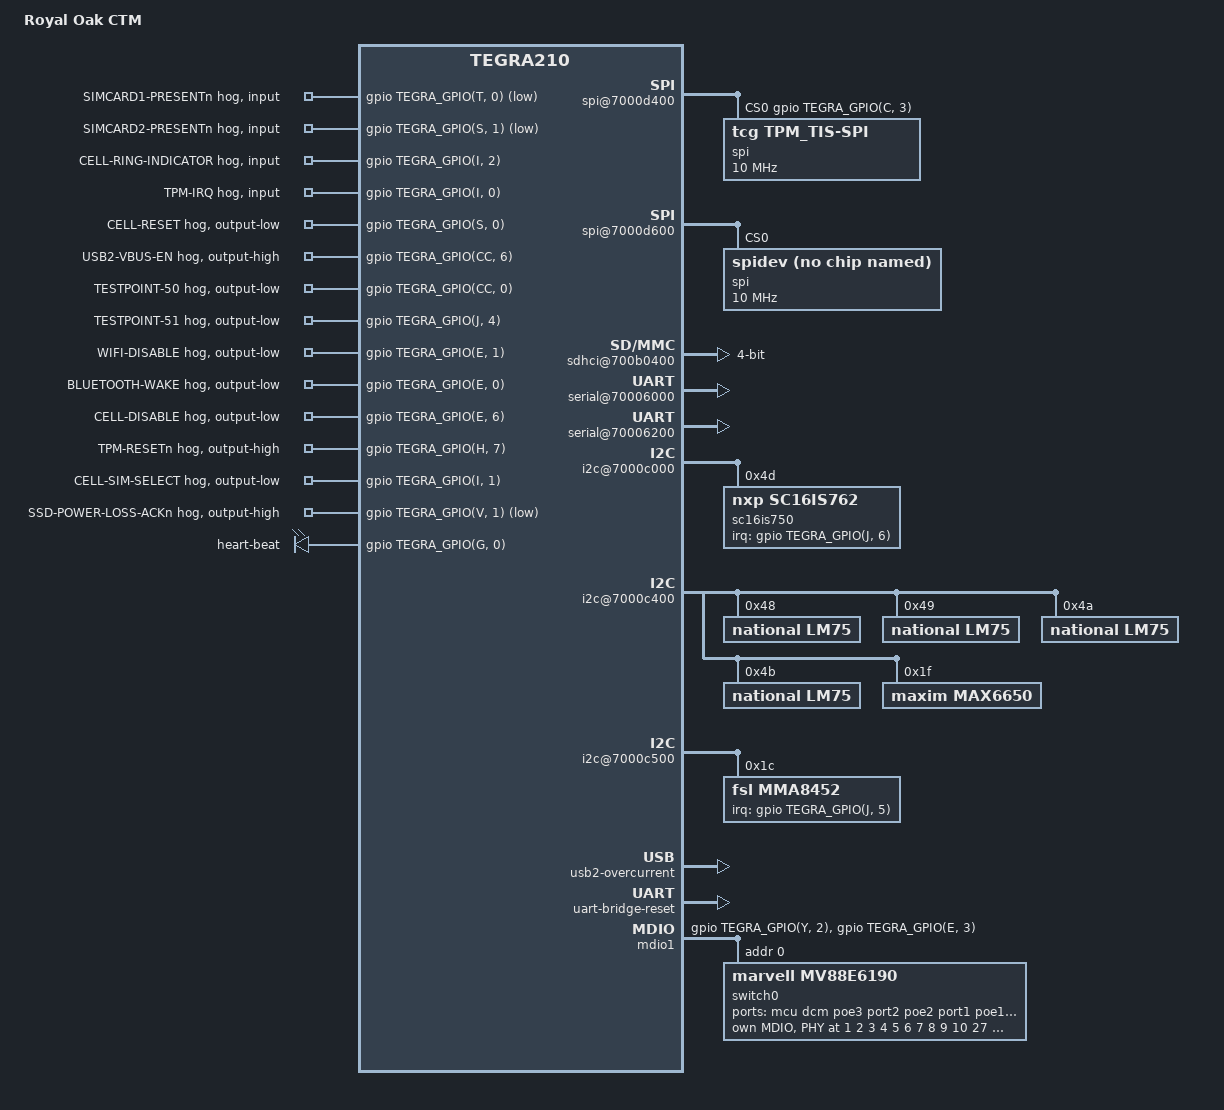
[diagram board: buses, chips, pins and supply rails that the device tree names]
/*
 * arch/arm64/boot/dts/tegra210-p3448-0000-p3449-0000-a00.dts
 *
 * Copyright (c) 2018-2019, NVIDIA CORPORATION.  All rights reserved.
 *
 * This program is free software; you can redistribute it and/or modify
 * it under the terms of the GNU General Public License as published by
 * the Free Software Foundation; version 2 of the License.
 *
 * This program is distributed in the hope that it will be useful, but WITHOUT
 * ANY WARRANTY; without even the implied warranty of MERCHANTABILITY or
 * FITNESS FOR A PARTICULAR PURPOSE.  See the GNU General Public License for
 * more details.
 *
 * You should have received a copy of the GNU General Public License along
 * with this program; if not, write to the Free Software Foundation, Inc.,
 * 51 Franklin Street, Fifth Floor, Boston, MA  02110-1301, USA.
 *
 */

#include "tegra210-porg-p3448-common.dtsi"

#include "porg-platforms/tegra210-royal_oak_ctm-pinmux.dtsi"
#include "porg-platforms/tegra210-royal_oak_ctm-gpio-default.dtsi"

/ {
    model = "Royal Oak CTM";
    compatible = "nvidia,jetson-nano", "nvidia,tegra210";
    nvidia,dtsfilename = __FILE__;

    //*********************************************************************
    // host1x Setup
    //*********************************************************************

    host1x {
        // Disable the display controllers
        dc@54200000 {
            status = "disabled";
        };
        dc@54240000 {
            status = "disabled";
        };

        // Disable the display serial output resources
        sor {
            status = "disabled";
            dp-display {
                status = "disabled";
            };
        };
        sor1 {
            status = "disabled";
            hdmi-display {
                status = "disabled";
            };
        };

        // Disable the DisplayPort AUX interfaces
        dpaux {
            status = "disabled";
        };
        dpaux1 {
            status = "disabled";
        };
    };

    //*********************************************************************
    // SPI Setup
    //
    // Notes:
    //		Nano supports up to 65Mhz SPI clocks.
    //*********************************************************************

    // Nano Module SPI 0 --> Tegra SPI 1 (TPM)
    spi@7000d400 {
        status = "okay";
        // Not actually 100% sure this does anything, it was suggested on the NVidia forums. The kernel doesn't
        // look for this, but possibly one of the boot loaders does. This is suppose to disable power management
        // on the interface.
        nvidia,disable-runtime-pm;

        // The PINMUX needed to be adjusted to put the CS line as a GPIO pin which is software controlled,
        // the hardware control was dropping the CS line between transactions resetting the TPM.
        cs-gpios = <&gpio TEGRA_GPIO(C, 3) GPIO_ACTIVE_HIGH>;

        spi@0 {
            reg = <0x0>;
            compatible = "tcg,tpm_tis-spi";
            spi-max-frequency = <10000000>;
            controller-data {
                // This setting along with the cs-gpios keeps the CS active during the full transaction.
                nvidia,clk-delay-between-packets = <0x1>;
            };
        };
    };

    // Nano Module SPI 1 --> Tegra SPI 2 (DPDI to DCM, Future expansion)
    spi@7000d600 {
        status = "okay";

        // Configure the SPI link between the boards using a generic SPIDEV so tools
        // can be used.
        spi@0 {
            compatible = "spidev";
            reg = <0x0>;

            // Set the max speed to 10Mhz as its cross board and we don't know whats going
            // to be connected yet.
            spi-max-frequency = <10000000>;
            nvidia,enable-hw-based-cs;
            nvidia,rx-clk-tap-delay = <6>;
        };
    };

    //*********************************************************************
    // SDHCI Setup
    //*********************************************************************

    // SDIO port in the M.2 interface for the Wifi Module
    sdhci@700b0400 {
        status = "okay";
        cap-sdio-irq;                    // Enable SDIO IRQ signaling on this interface
        broken-cd;                       // There is no card detection available; polling must be used.
        bus-width = <4>;                 // Module uses a 4 bit bus
        force-non-removable-rescan;      // Enable to force rescan/reinit for non-removable devices
        nvidia,disable-rtpm;             // Disable run time power management on this port.
        max-clk-limit = <204000000>;     // Max clock 204 MHz
        tap-delay = <1>;                 // Set by NVidia
        default-drv-type = <0>;          // Type B - 50-ohm impedance on data lines
        only-1-8-v;                      // Only use 1v8 signal levels
        no-mmc;                          // Disable MMC memory detection on this port
        no-sd;                           // Disable SD card detection on this port.

        // Mask off HS200, HS400, and DDR50 modes which are not supported on our device.
        uhs-mask = <0x68>;

        // SDIO modes supported by the laird device.
        sd-uhs-sdr104;
        sd-uhs-sdr50;
        sd-uhs-sdr25;
        sd-uhs-sdr12;

        // Remove properties already defined we don't want.
        /delete-property/ mmc-ddr-1_8v;
        /delete-property/ cap-mmc-highspeed;
        /delete-property/ cap-sd-highspeed;
        /delete-property/ mmc-ocr-mask;
        /delete-property/ cd-inverted;
        /delete-property/ wp-inverted;
    };

    // The plugin-manager settings disable SDIO support on the interface, this
    // overrides the override to remove the setting.
    plugin-manager {
        fragement@10 {
            override@1 {
                _overlay_ {
                    /delete-property/ no-sdio;
                };
            };
        };
    };

    //*********************************************************************
    // Sound Setup
    //*********************************************************************

    // Disable the sound cores
    tegra_sound: sound {
        status = "disabled";

        hdr40_snd_link_i2s: i2s_dai_link1: nvidia,dai-link-1 {
            status = "disabled";
        };
        nvidia,dai-link-2 {
            status = "disabled";
        };
        nvidia,dai-link-3 {
            status = "disabled";
        };
        nvidia,dai-link-4 {
            status = "disabled";
        };
    };

    //*********************************************************************
    // Serial UART Setup
    //*********************************************************************

    // Nano Module UART 2 --> Tegra UART 1 (Debug Port)
    serial@70006000 {
        compatible = "nvidia,tegra210-uart", "nvidia,tegra114-hsuart", "nvidia,tegra20-uart";
        console-port;
        sqa-automation-port;
        /delete-property/ resets;
        /delete-property/ reset-names;
        status = "okay";
    };

    // Nano Module UART 1 --> Tegra UART 2 (Unused GPIOs)
    serial@70006040 {
        status = "disabled";
    };

    // Nano Module UART 0 --> Tegra UART 3 (Bluetooth M.2 Key E)
    serial@70006200 {
        compatible = "nvidia,tegra114-hsuart";
        dma-names = "tx";
        // This adjustment comes from the common file, leaving in place as not sure why its needed
        nvidia,adjust-baud-rates = <921600 921600 100>;
        status = "okay";
    };

    //*********************************************************************
    // Clocks Setup
    //*********************************************************************

    clocks {
        // Define the clock parameters the UART is configured for
        sc16is752_clk: sc16is752_clk {
            status = "okay";
            compatible = "fixed-clock";
            #clock-cells = <0>;
            clock-output-name = "sc16is752_clk";
            clock-frequency = <1843200>;
        };
    };

    //*********************************************************************
    // I2C Setup
    //*********************************************************************

    // Nano Module I2C-0 --> Tegra I2C1
    // 		TMP451 Temperature    0x4C (Nano Internal Temp)
    //		NXP SC16IS762IBS      0x4D (Dual UART)
    i2c@7000c000 {
         status = "okay";

        sc16is750@4D {
                compatible = "nxp,sc16is762";
                reg = <0x4D>;
                clocks = <&sc16is752_clk>;
                interrupt-parent = <&gpio>;
                interrupts = <TEGRA_GPIO(J, 6) IRQ_TYPE_EDGE_FALLING>;
                 gpio-controller;
                #gpio-cells = <2>;
        };

    };

    // Nano Module I2C-1 --> Tegra I2C2
    //		LM75 Temperature      0x48 (Ethernet Switch)
    //		LM75 Temperature      0x49 (+53 Power Module)
    //		LM75 Temperature      0x4A (+12 Power Module)
    //		LM75 Temperature      0x4B (Ambient)
    //		MAX6650 AUX Fan       0x1F (Aux Fan)
    // 		PCA9546 MUX           0x70 (Nano Internal Mux)
    i2c@7000c400 {
         status = "okay";

        lm75@48 {
            status= "okay";
            compatible = "national,lm75";
            reg = <0x48>;
        };

        lm75@49 {
            status= "okay";
            compatible = "national,lm75";
            reg = <0x49>;
        };

        lm75@4a {
            status= "okay";
            compatible = "national,lm75";
            reg = <0x4a>;
        };

        lm75@4b {
            status= "okay";
            compatible = "national,lm75";
            reg = <0x4b>;
        };

        max6650@1f {
            reg = <0x1f>;
            compatible = "maxim,max6650";
            maxim,fan-microvolt = <12000000>;
            maxim,fan-prescale = <4>;
            maxim,fan-target-rpm = <0>;
        };

    };

    // Nano Module I2C-2 --> Tegra I2C3
    //		MMA8452               0x1C (Accelerometer)
    //		SSD M.2 Interface	  ????
    i2c@7000c500 {
        status = "okay";

        mma8452@1c {
            compatible = "fsl,mma8452";
            reg = <0x1c>;
            interrupt-parent = <&gpio>;
            interrupts = <TEGRA_GPIO(J, 5) 0x01>;
            interrupt-names = "INT1";
        };
    };

    //*********************************************************************
    // GPIO Setup
    //*********************************************************************

    gpio: gpio@6000d000 {
        // Remove definitions that we don't need, or that conflict with those below
        /delete-node/ camera-control-output-low;

        //*****************
        // Inputs
        //*****************
        simcard1-present {
            status = "okay";
            gpio-hog;
            input;
            gpios = <TEGRA_GPIO(T, 0) GPIO_ACTIVE_LOW>;
            line-name = "SIMCARD1-PRESENTn";
        };

        simcard2-present {
            status = "okay";
            gpio-hog;
            input;
            gpios = <TEGRA_GPIO(S, 1) GPIO_ACTIVE_LOW>;
            line-name = "SIMCARD2-PRESENTn";
        };

        usb2-overcurrent {
            status = "okay";
            input;
            gpios = <TEGRA_GPIO(CC, 1) GPIO_ACTIVE_LOW>;
            line-name = "USB2-OVERCURRENTn";
        };

        overtemp-shutdown {
            status = "okay";
            input;
            gpios = <TEGRA_GPIO(V, 1) GPIO_ACTIVE_LOW>;
            line-name = "OVERTEMP-SHUTDOWNn";
        };

        cell-to-host-wake {
            status = "okay";
            input;
            gpios = <TEGRA_GPIO(V, 1) GPIO_ACTIVE_LOW>;
            line-name = "CELL-TO-HOST-WAKEn";
        };

        cell-ring-indicator {
            status = "okay";
            gpio-hog;
            input;
            gpios = <TEGRA_GPIO(I, 2) GPIO_ACTIVE_HIGH>;
            line-name = "CELL-RING-INDICATOR";
        };

        wifi-wake {
            status = "okay";
            input;
            gpios = <TEGRA_GPIO(H, 6) GPIO_ACTIVE_HIGH>;
            line-name = "WIFI-WAKE";
        };

        ssd-power-loss {
            status = "okay";
            input;
            gpios = <TEGRA_GPIO(S, 7) GPIO_ACTIVE_HIGH>;
            line-name = "SSD-POWER-LOSS";
        };

        ssd-alert {
            status = "okay";
            input;
            gpios = <TEGRA_GPIO(S, 5) GPIO_ACTIVE_HIGH>;
            line-name = "SSD-ALERT";
        };

        tpm-irq {
            status = "okay";
            gpio-hog;
            input;
            gpios = <TEGRA_GPIO(I, 0) GPIO_ACTIVE_HIGH>;
            line-name = "TPM-IRQ";
        };

        //*****************
        // Outputs
        //*****************

        cell-reset {
            status = "okay";
            gpio-hog;
            output-low;
            gpios = <TEGRA_GPIO(S, 0) GPIO_ACTIVE_HIGH>;
            line-name = "CELL-RESET";
        };

        usb2-vbus-en {
            status = "okay";
            gpio-hog;
            output-high;
            gpios = <TEGRA_GPIO(CC, 6) GPIO_ACTIVE_HIGH>;
            line-name = "USB2-VBUS-EN";
        };

        testpoint-50 {
            status = "okay";
            gpio-hog;
            output-low;
            gpios = <TEGRA_GPIO(CC, 0) GPIO_ACTIVE_HIGH>;
            line-name = "TESTPOINT-50";
        };

        testpoint-51 {
            status = "okay";
            gpio-hog;
            output-low;
            gpios = <TEGRA_GPIO(J, 4) GPIO_ACTIVE_HIGH>;
            line-name = "TESTPOINT-51";
        };

        uart-bridge-reset {
            status = "okay";
            gpio-hog;
            output-high;
            gpios = <TEGRA_GPIO(J, 7) GPIO_ACTIVE_HIGH>;
            line-name = "UART-BRIDGE-RESETn";
        };

        wifi-disable {
            status = "okay";
            gpio-hog;
            output-low;
            gpios = <TEGRA_GPIO(E, 1) GPIO_ACTIVE_HIGH>;
            line-name = "WIFI-DISABLE";
        };

        bluetooth-wake {
            status = "okay";
            gpio-hog;
            output-low;
            gpios = <TEGRA_GPIO(E, 0) GPIO_ACTIVE_HIGH>;
            line-name = "BLUETOOTH-WAKE";
        };

        cell-disable {
            status = "okay";
            gpio-hog;
            output-low;
            gpios = <TEGRA_GPIO(E, 6) GPIO_ACTIVE_HIGH>;
            line-name = "CELL-DISABLE";
        };

        cell-dtr {
            status = "okay";
            output-low;
            gpios = <TEGRA_GPIO(Z, 0) GPIO_ACTIVE_HIGH>;
            line-name = "CELL-DTR";
        };

        tpm-reset {
            status = "okay";
            gpio-hog;
            output-high;
            gpios = <TEGRA_GPIO(H, 7) GPIO_ACTIVE_HIGH>;
            line-name = "TPM-RESETn";
        };

        cell-sim-select {
            status = "okay";
            gpio-hog;
            output-low;
            gpios = <TEGRA_GPIO(I, 1) GPIO_ACTIVE_HIGH>;
            line-name = "CELL-SIM-SELECT";
        };

        ssd-power-loss-ack {
            status = "okay";
            gpio-hog;
            output-high;
            gpios = <TEGRA_GPIO(V, 1) GPIO_ACTIVE_LOW>;
            line-name = "SSD-POWER-LOSS-ACKn";
        };

    };

    //*********************************************************************
    // LED Setup
    //*********************************************************************

    leds {
        status = "okay";
        compatible = "gpio-leds";

        heart-beat {
            gpios = <&gpio TEGRA_GPIO(G, 0) GPIO_ACTIVE_HIGH>;
            default-state = "off";
            linux,default-trigger = "heartbeat";
        };

        // We don't have a power LED, so we need to remove the lower level definition
        /delete-node/ pwr;
    };

    //*********************************************************************
    // MDIO / Ethernet Switch Setup
    //*********************************************************************

    mdio1: mdio {
        compatible = "virtual,mdio-gpio";
        status = "okay";
        #address-cells = <1>;
        #size-cells = <0>;

        //pinctrl-names = "bitbangmdio";
        //pinctrl-0 = <&pinctrl_mdio1_state>;

        interrupt-parent = <&gpio>;
        interrupts = <TEGRA_GPIO(E, 2) 8>;

        gpios = <&gpio TEGRA_GPIO(Y, 2) GPIO_ACTIVE_HIGH
                 &gpio TEGRA_GPIO(E, 3) GPIO_ACTIVE_HIGH
                >;

        switch0: switch@0 {
            compatible = "marvell,mv88e6190";
            #address-cells = <1>;
            #size-cells = <0>;
            reg = <0>;
            dsa,member = <0 0>;

            ports {
                #address-cells = <1>;
                #size-cells = <0>;

                port@0 {
                    reg = <0x0>;
                    label = "mcu";
                    fixed-link {
                        speed = <100>;
                        full-duplex;
                    };
                };

                port@1 {
                    reg = <0x1>;
                    label = "dcm";
                    phy-handle = <&switch0phy1>;
                };

                port@2 {
                    reg = <0x2>;
                    label = "poe3";
                    phy-handle = <&switch0phy2>;
                };

                port@3 {
                    reg = <0x3>;
                    label = "port2";
                    phy-handle = <&switch0phy3>;
                };

                port@4 {
                    reg = <0x4>;
                    label = "poe2";
                    phy-handle = <&switch0phy4>;
                };

                port@5 {
                    reg = <0x5>;
                    label = "port1";
                    phy-handle = <&switch0phy5>;
                };

                port@6 {
                    reg = <0x6>;
                    label = "poe1";
                    phy-handle = <&switch0phy6>;
                };

                port@7 {
                    reg = <0x7>;
                    label = "wan";
                    phy-handle = <&switch0phy7>;
                };

                port@8 {
                    reg = <0x8>;
                    label = "cpu";
                    ethernet = <&{/pcie@1003000/pci@2,0/ethernet@0,0}>;
                    phy-handle = <&switch0phy8>;
                };
            };

            mdio {
                #address-cells = <1>;
                #size-cells = <0>;

                 /* The MV88E6390 does not report the phy type on the MDIO bus properly, so we force it to the
                    correct value here using the compatible property. */
                switch0phy1: ethernet-phy@1 {
                    compatible = "ethernet-phy-id0141.0f90";
                    reg = <1>;
                    broken-turn-around;
                };
                switch0phy2: ethernet-phy@2 {
                    compatible = "ethernet-phy-id0141.0f90";
                    reg = <2>;
                    broken-turn-around;
                };
                switch0phy3: ethernet-phy@3 {
                    compatible = "ethernet-phy-id0141.0f90";
                    reg = <3>;
                    broken-turn-around;
                };
                switch0phy4: ethernet-phy@4 {
                    compatible = "ethernet-phy-id0141.0f90";
                    reg = <4>;
                    broken-turn-around;
                };
                switch0phy5: ethernet-phy@5 {
                    compatible = "ethernet-phy-id0141.0f90";
                    reg = <5>;
                    broken-turn-around;
                };
                switch0phy6: ethernet-phy@6 {
                    compatible = "ethernet-phy-id0141.0f90";
                    reg = <6>;
                    broken-turn-around;
                };
                switch0phy7: ethernet-phy@7 {
                    compatible = "ethernet-phy-id0141.0f90";
                    reg = <7>;
                    broken-turn-around;
                };
                switch0phy8: ethernet-phy@8 {
                    compatible = "ethernet-phy-id0141.0f90";
                    reg = <8>;
                    broken-turn-around;
                };
                switch0phy9: ethernet-phy@9 {
                    compatible = "ethernet-phy-id0141.0f90";
                    reg = <9>;
                    broken-turn-around;
                };
                switch0phya: ethernet-phy@a {
                    compatible = "ethernet-phy-id0141.0f90";
                    reg = <0xa>;
                    broken-turn-around;
                };
                switch0phy1b: ethernet-phy@1b {
                    compatible = "ethernet-phy-id0141.0f90";
                    reg = <0x1b>;
                    broken-turn-around;
                };
                switch0phy1c: ethernet-phy@1c {
                    compatible = "ethernet-phy-id0141.0f90";
                    reg = <0x1c>;
                    broken-turn-around;
                };
            };

        };
    };

};

